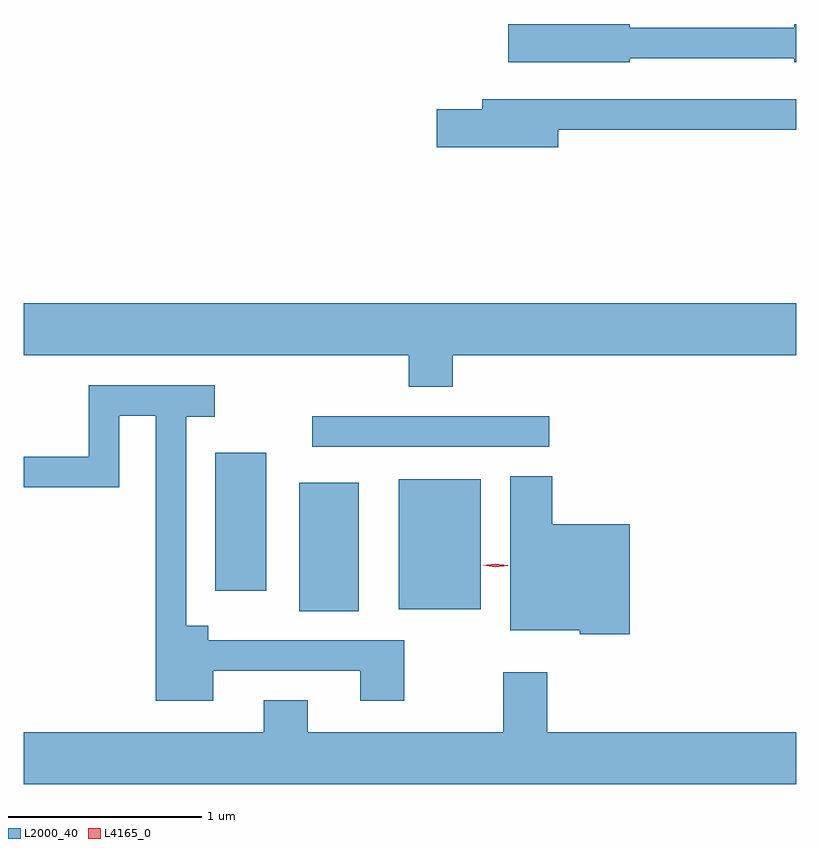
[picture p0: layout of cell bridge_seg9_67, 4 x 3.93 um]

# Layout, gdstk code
import gdstk
lib = gdstk.Library(unit=1e-6, precision=1e-09)
def R(c, l, rs):  # rectangles x0, y0, x1, y1
    for r in rs: c.add(gdstk.rectangle(r[:2], r[2:], *l))
def P(c, l, *ps):  # polygons
    for p in ps: c.add(gdstk.Polygon(p, *l))
L2000_40 = (2000, 40)
L4165_0 = (4165, 0)

bridge_seg9_67 = lib.new_cell('bridge_seg9_67')
R(bridge_seg9_67, L2000_40, [(1536.936,1972.731,1537.244,1973.394), (1537.451,1972.741,1537.874,1973.414), (1536.501,1972.836,1536.764,1973.549), (1537.003,1973.581,1538.228,1973.739)])
P(bridge_seg9_67, L2000_40, [(1538.644,1975.591),(1539.496,1975.591),(1539.496,1975.571),(1539.508,1975.571),(1539.508,1975.769),(1539.496,1975.769),(1539.496,1975.749),(1538.644,1975.749),(1538.644,1975.769),(1538.016,1975.769),(1538.016,1975.571),(1538.644,1975.571)],
  [(1538.274,1975.221),(1539.508,1975.221),(1539.508,1975.379),(1537.881,1975.379),(1537.881,1975.329),(1537.646,1975.329),(1537.646,1975.131),(1538.274,1975.131)],
  [(1537.729,1974.056),(1539.508,1974.056),(1539.508,1974.324),(1535.508,1974.324),(1535.508,1974.056),(1537.501,1974.056),(1537.501,1973.891),(1537.729,1973.891)],
  [(1536.489,1972.421),(1537.251,1972.421),(1537.251,1972.266),(1537.479,1972.266),(1537.479,1972.579),(1536.464,1972.579),(1536.464,1972.654),(1536.349,1972.654),(1536.349,1973.736),(1536.498,1973.736),(1536.498,1973.899),(1535.846,1973.899),(1535.846,1973.529),(1535.508,1973.529),(1535.508,1973.371),(1536.004,1973.371),(1536.004,1973.741),(1536.191,1973.741),(1536.191,1972.266),(1536.489,1972.266)],
  [(1538.644,1973.179),(1538.244,1973.179),(1538.244,1973.429),(1538.026,1973.429),(1538.026,1972.631),(1538.386,1972.631),(1538.386,1972.611),(1538.644,1972.611)],
  [(1539.508,1972.104),(1538.219,1972.104),(1538.219,1972.414),(1537.991,1972.414),(1537.991,1972.104),(1536.979,1972.104),(1536.979,1972.269),(1536.751,1972.269),(1536.751,1972.104),(1535.508,1972.104),(1535.508,1971.836),(1539.508,1971.836)])
P(bridge_seg9_67, L4165_0, [(1537.95,1972.957),(1537.884,1972.967),(1537.884,1972.968),(1537.884,1972.968),(1537.95,1972.977),(1538.015,1972.967),(1538.016,1972.967),(1538.015,1972.966)])

lib.write_gds('bridge_seg9_67.gds')
